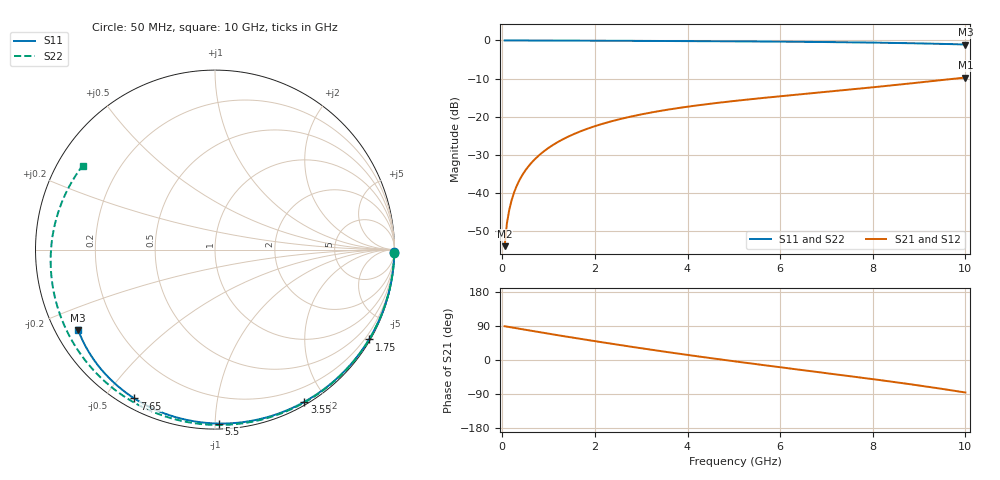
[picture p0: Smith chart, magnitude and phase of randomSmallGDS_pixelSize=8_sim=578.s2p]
! freq	dB(S11)	phase(S11)	dB(S12)	phase(S12)
!  dB(S21)	phase(S21)	dB(S22)	phase(S22)
!S-par simulation data
#  GHz  S  DB  R 50
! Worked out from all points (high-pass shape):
!   200 points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, 50 MHz to 10 GHz, reference 50 ohm
!   highest |S21| = -9.74 dB at 10 GHz (marker M1); lowest = -54.0 dB at 50 MHz (marker M2)
!   |S21| within 3 dB of the highest: 7.642 GHz to end of sweep
!   lowest |S11| = -1.1 dB at 10 GHz (marker M3), VSWR 16.32, Z = 3.29 - j13.6 ohm
!   |S11| at or under -10 dB: nowhere
!   |S22| runs from -1.2 to 0.0 dB; largest |S21 - S12| = 0
!   S11 on the Smith chart (normalised r, x): 50 MHz: open; 1.75 GHz: 0.05, -3.70; 3.55 GHz: 0.03, -1.75; 5.5 GHz: 0.03, -1.02; 7.65 GHz: 0.04, -0.59; 10 GHz: 0.07, -0.27
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0.05  -0.00 -0.9  -54.02 89.1  -54.02 89.1  -0.01 -1.1
0.1  -0.01 -1.8  -48.02 88.0  -48.02 88.0  -0.01 -2.3
0.15  -0.01 -2.6  -44.51 87.0  -44.51 87.0  -0.01 -3.5
0.2  -0.01 -3.5  -42.02 85.9  -42.02 85.9  -0.01 -4.7
0.25  -0.01 -4.4  -40.09 84.8  -40.09 84.8  -0.01 -5.8
0.35  -0.01 -6.1  -37.18 82.7  -37.18 82.7  -0.02 -8.2
0.5  -0.01 -8.8  -34.11 79.6  -34.11 79.6  -0.02 -11.7
0.7  -0.02 -12.2  -31.23 75.4  -31.23 75.4  -0.02 -16.3
1  -0.03 -17.4  -28.20 69.4  -28.20 69.4  -0.04 -23.2
1.35  -0.04 -23.4  -25.70 62.4  -25.70 62.4  -0.05 -31.2
1.75  -0.06 -30.2  -23.58 54.6  -23.58 54.6  -0.07 -40.2
2.6  -0.10 -44.4  -20.48 38.4  -20.48 38.4  -0.11 -58.9
3.4  -0.14 -57.2  -18.52 23.8  -18.52 23.8  -0.16 -75.8
3.55  -0.14 -59.6  -18.22 21.2  -18.22 21.2  -0.17 -78.8
4.3  -0.19 -71.2  -16.91 8.3  -16.91 8.3  -0.22 -94.0
5.05  -0.24 -82.3  -15.84 -4.1  -15.84 -4.1  -0.27 -108.7
5.5  -0.27 -88.8  -15.26 -11.2  -15.26 -11.2  -0.31 -117.4
6.7  -0.38 -105.6  -13.84 -30.0  -13.84 -30.0  -0.44 -140.4
7.65  -0.51 -118.5  -12.73 -44.9  -12.73 -44.9  -0.59 -159.1
8.35  -0.63 -127.8  -11.87 -56.2  -11.87 -56.2  -0.72 -173.6
9.2  -0.82 -139.0  -10.78 -70.8  -10.78 -70.8  -0.93 167.5
10  -1.07 -149.5  -9.74 -85.8  -9.74 -85.8  -1.18 147.7
